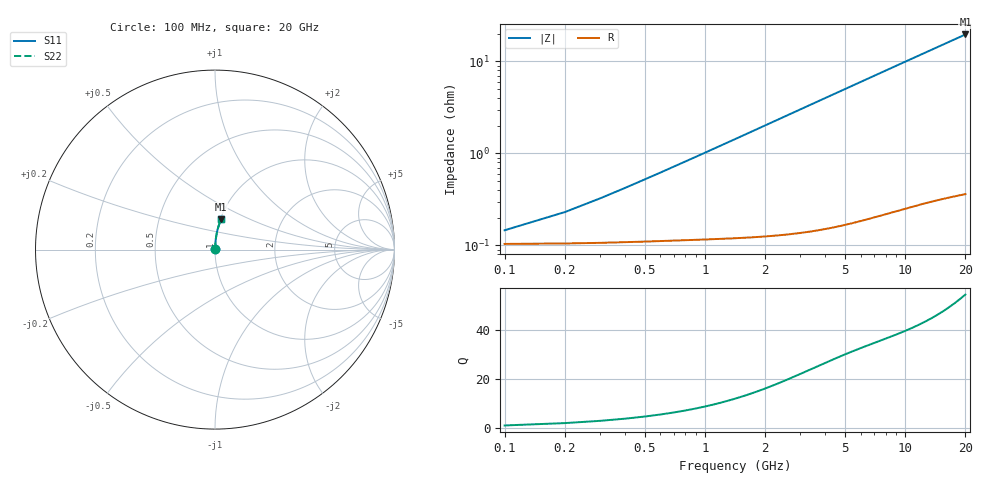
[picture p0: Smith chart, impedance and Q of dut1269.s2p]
! Touchstone file exported from HFSS 2024.1.0
!  File:  C:/UserFiles/LocalFiles/RDL_TSV_Batchsim/temp_RDL_top_1269_1780242102.aedt
!  Generated:  11:44:05 PM May 31, 2026
!  Design:  RDL_top
!  Project:  temp_RDL_top_1269_1780242102
!  Setup:  Setup1
!  Solution:  Sweep
! Variables:
!  dtsv = 10.80580581um
!  hbump = 3um
!  htsv = 53.59um
!  ldown = 100um
!  lrdl = 110.71um
!  p = 40
!  p1 = 50.8um
!  rhole = 1um
!  t = 450um
!  tdown = 3.915915916um
!  trdl = 4.1um
!  wdown = 15.38538539um
!  wrdl = 10.57um
# GHz S MA R 50.000000
! Terminal data exported
! Port[1] = Box2_T1
! Port[2] = Box2_T2
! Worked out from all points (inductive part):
!   200 points, 100 MHz to 20 GHz, reference 50 ohm
!   read as one part in series: L = 162 pH near 400 MHz
!   highest Q = 54.4 at 20 GHz (marker M1), where L = 156 pH
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0.1  0.001363 40.4  0.999 -0.1  0.999 -0.1  0.001363 40.4
! Gamma 0 0 0 0
! Port Impedance 50 0 50 0
0.2  0.002052 59.2  0.9989 -0.1  0.9989 -0.1  0.002052 59.2
0.3  0.002843 67.9  0.9989 -0.2  0.9989 -0.2  0.002843 67.9
0.4  0.003666 72.7  0.9989 -0.3  0.9989 -0.3  0.003666 72.7
0.5  0.004502 75.7  0.9989 -0.3  0.9989 -0.3  0.004502 75.7
0.6  0.005343 77.8  0.9989 -0.4  0.9989 -0.4  0.005343 77.8
0.8  0.007035 80.5  0.9988 -0.5  0.9988 -0.5  0.007035 80.5
1.1  0.009587 82.7  0.9987 -0.7  0.9987 -0.7  0.009587 82.7
1.5  0.01301 84.3  0.9986 -1.0  0.9986 -1.0  0.01301 84.3
1.8  0.01558 85.0  0.9985 -1.2  0.9985 -1.2  0.01558 85.0
2.1  0.01815 85.4  0.9983 -1.4  0.9983 -1.4  0.01815 85.4
2.7  0.02332 85.9  0.998 -1.8  0.998 -1.8  0.02332 85.9
3.5  0.03022 86.2  0.9975 -2.3  0.9975 -2.3  0.03022 86.2
4.2  0.03628 86.2  0.9969 -2.7  0.9969 -2.7  0.03628 86.2
5  0.04322 86.1  0.9962 -3.2  0.9962 -3.2  0.04322 86.1
5.9  0.05104 85.9  0.9953 -3.8  0.9953 -3.8  0.05104 85.9
6.8  0.05888 85.6  0.9943 -4.4  0.9943 -4.4  0.05888 85.6
8.3  0.07199 85.0  0.9926 -5.3  0.9926 -5.3  0.07199 85.0
10.1  0.08773 84.1  0.9903 -6.4  0.9903 -6.4  0.08773 84.1
13.4  0.1165 82.3  0.9857 -8.4  0.9857 -8.4  0.1165 82.3
16.7  0.1451 80.5  0.9806 -10.3  0.9806 -10.3  0.1451 80.5
20  0.1733 78.5  0.975 -12.3  0.975 -12.3  0.1732 78.5
